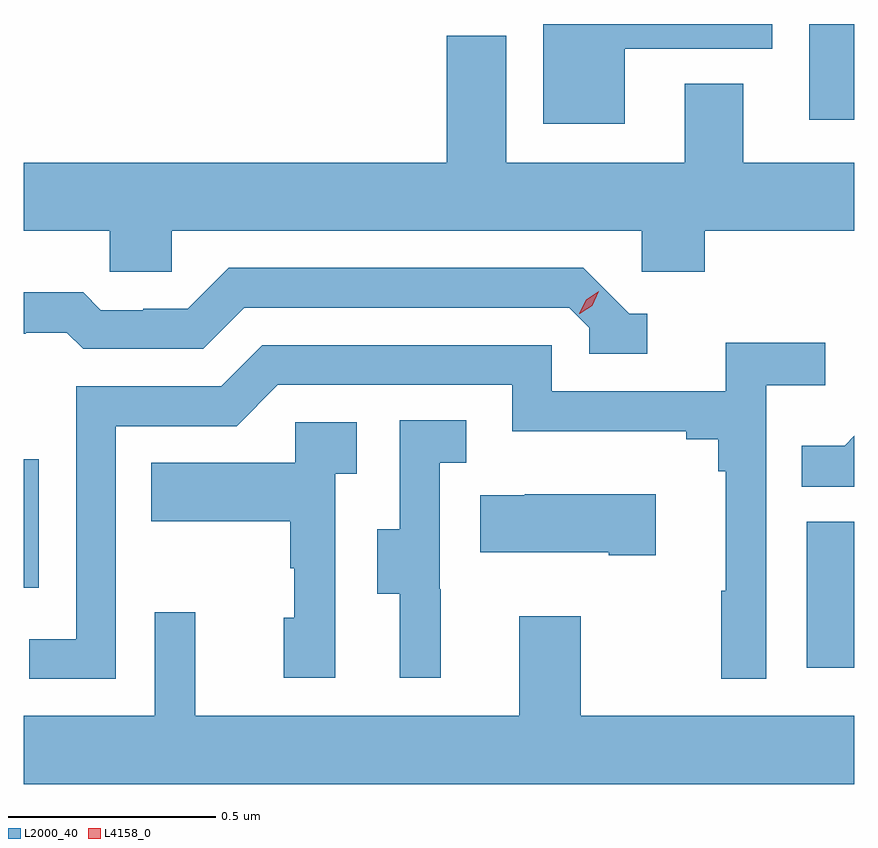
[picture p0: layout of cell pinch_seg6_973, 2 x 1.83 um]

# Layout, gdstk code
import gdstk
lib = gdstk.Library(unit=1e-6, precision=1e-09)
def R(c, l, rs):  # rectangles x0, y0, x1, y1
    for r in rs: c.add(gdstk.rectangle(r[:2], r[2:], *l))
def P(c, l, *ps):  # polygons
    for p in ps: c.add(gdstk.Polygon(p, *l))
L2000_40 = (2000, 40)
L4158_0 = (4158, 0)

pinch_seg6_973 = lib.new_cell('pinch_seg6_973')
R(pinch_seg6_973, L2000_40, [(374.246,923.64,374.36,923.991), (372.36,923.832,372.396,924.142), (374.252,924.96,374.36,925.19)])
P(pinch_seg6_973, L2000_40, [(373.807,925.131),(374.163,925.131),(374.163,925.19),(373.611,925.19),(373.611,924.95),(373.807,924.95)],
  [(372.717,924.692),(373.848,924.692),(373.848,924.594),(374,924.594),(374,924.692),(374.36,924.692),(374.36,924.856),(374.092,924.856),(374.092,925.046),(373.952,925.046),(373.952,924.856),(373.522,924.856),(373.522,925.162),(373.379,925.162),(373.379,924.856),(372.36,924.856),(372.36,924.692),(372.567,924.692),(372.567,924.594),(372.717,924.594)],
  [(373.861,924.492),(373.818,924.492),(373.707,924.603),(372.854,924.603),(372.755,924.504),(372.648,924.504),(372.648,924.501),(372.545,924.501),(372.503,924.544),(372.36,924.544),(372.36,924.444),(372.365,924.444),(372.365,924.447),(372.464,924.447),(372.503,924.408),(372.792,924.408),(372.891,924.507),(373.674,924.507),(373.722,924.459),(373.722,924.396),(373.861,924.396)],
  [(372.582,924.222),(372.873,924.222),(372.972,924.321),(373.536,924.321),(373.536,924.209),(373.955,924.209),(373.955,924.19),(374.032,924.19),(374.032,924.113),(374.051,924.113),(374.051,923.825),(374.04,923.825),(374.04,923.613),(374.148,923.613),(374.148,924.32),(374.29,924.32),(374.29,924.422),(374.051,924.422),(374.051,924.306),(373.632,924.306),(373.632,924.417),(372.935,924.417),(372.836,924.318),(372.486,924.318),(372.486,923.709),(372.373,923.709),(372.373,923.613),(372.582,923.613)],
  [(373.364,923.829),(373.362,923.829),(373.362,924.133),(373.426,924.133),(373.426,924.236),(373.266,924.236),(373.266,923.973),(373.211,923.973),(373.211,923.818),(373.265,923.818),(373.265,923.616),(373.364,923.616)],
  [(373.11,924.107),(373.162,924.107),(373.162,924.231),(373.014,924.231),(373.014,924.133),(372.667,924.133),(372.667,923.993),(373.002,923.993),(373.002,923.879),(373.012,923.879),(373.012,923.76),(372.986,923.76),(372.986,923.616),(373.11,923.616)],
  [(374.36,924.198),(374.337,924.175),(374.233,924.175),(374.233,924.076),(374.36,924.076)],
  [(373.882,924.058),(373.567,924.058),(373.567,924.055),(373.459,924.055),(373.459,923.918),(373.769,923.918),(373.769,923.911),(373.882,923.911)],
  [(374.36,923.524),(373.701,923.524),(373.701,923.764),(373.553,923.764),(373.553,923.524),(372.773,923.524),(372.773,923.773),(372.675,923.773),(372.675,923.524),(372.36,923.524),(372.36,923.36),(374.36,923.36)])
P(pinch_seg6_973, L4158_0, [(373.698,924.492),(373.698,924.493),(373.714,924.526),(373.745,924.546),(373.745,924.546),(373.745,924.546),(373.729,924.512),(373.699,924.492)])

lib.write_gds('pinch_seg6_973.gds')
